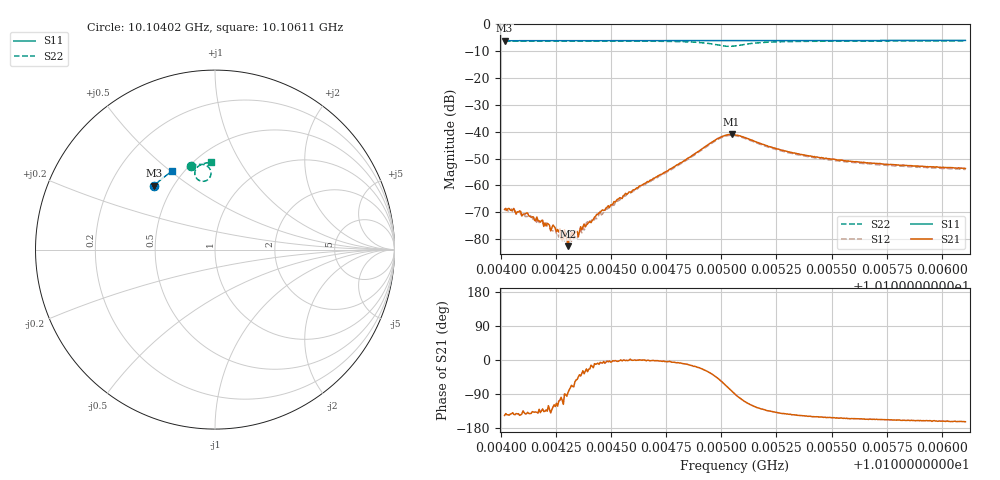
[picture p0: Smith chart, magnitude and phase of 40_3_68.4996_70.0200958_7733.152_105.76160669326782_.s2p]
#  HZ  S  RI  R  50.00
! Rohde & Schwarz Vector Network Analyzer
! Rohde-Schwarz,ZNB20-2Port,1311601062101988,3.16
! Created: UTC 3/20/2024, 4:50:18 PM
! freq[Hz]  re:S11  im:S11  re:S21  im:S21  re:S12  im:S12  re:S22  im:S22
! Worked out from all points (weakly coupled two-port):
!   401 points, 10.10402 GHz to 10.10611 GHz, reference 50 ohm
!   highest |S21| = -41.06 dB at 10.10505 GHz (marker M1); lowest = -82.6 dB at 10.1043 GHz (marker M2)
!   lowest |S11| = -6.2 dB at 10.10402 GHz (marker M3), VSWR 2.93, Z = 19.8 + j18.6 ohm
!   |S11| at or under -10 dB: nowhere
!   |S22| runs from -8.3 to -6.2 dB; largest |S21 - S12| = 0.00088
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1.0104016e10  -0.3378 0.3567  -0.000298 -0.000199  -0.000278 -0.000244  -0.1337 0.465
1.0104047e10  -0.3363 0.3582  -0.000269 -0.000211  -0.000268 -0.000249  -0.1312 0.4657
1.010412e10  -0.3333 0.3615  -0.000226 -0.000203  -0.000184 -0.000191  -0.1261 0.4672
1.0104178e10  -0.3308 0.364  -0.000155 -0.000136  -0.000133 -0.000182  -0.1217 0.4684
1.0104246e10  -0.3279 0.3669  -8.69e-05 -0.000135  -5.66e-05 -0.000146  -0.1168 0.4698
1.0104272e10  -0.3266 0.368  -1.48e-05 -0.000101  -1.55e-05 -0.000126  -0.1147 0.4702
1.0104298e10  -0.3256 0.369  -1.02e-05 -0.000101  2.97e-05 -0.000106  -0.1127 0.4707
1.0104303e10  -0.3254 0.3693  5.05e-06 -7.4e-05  1.21e-05 -0.000135  -0.1122 0.4709
1.0104335e10  -0.3238 0.3706  7.47e-05 -0.000121  8.5e-05 -6.38e-05  -0.1096 0.4713
1.010434e10  -0.3236 0.3709  8.12e-05 -0.000107  6.41e-05 -7.19e-05  -0.1093 0.4714
1.0104366e10  -0.3225 0.3719  0.000122 -8.73e-05  0.000101 -8.37e-05  -0.1072 0.4719
1.0104398e10  -0.3211 0.3732  0.000186 -8.41e-05  0.000196 -2.03e-05  -0.1044 0.4725
1.0104445e10  -0.319 0.3753  0.000304 -6.21e-05  0.000288 -2.11e-05  -0.1004 0.4732
1.0104554e10  -0.3141 0.3796  0.000648 -3.35e-07  0.000616 5.5e-05  -0.0897 0.4747
1.0104717e10  -0.3067 0.3863  0.00154 -6.77e-05  0.00149 6.71e-05  -0.0696 0.4746
1.0104983e10  -0.2937 0.3961  0.00499 -0.00554  0.00524 -0.00485  -0.0256 0.4086
1.0105046e10  -0.2912 0.3983  0.0013 -0.00876  0.00198 -0.00829  -0.0704 0.3803
1.0105062e10  -0.2906 0.3988  1.92e-06 -0.00874  0.00078 -0.00841  -0.0841 0.3835
1.0105255e10  -0.2815 0.4065  -0.00359 -0.00312  -0.00316 -0.00328  -0.1004 0.4573
1.0105412e10  -0.2739 0.4123  -0.003 -0.00176  -0.00267 -0.00198  -0.0806 0.4725
1.0105762e10  -0.2563 0.4243  -0.00226 -0.00091  -0.00209 -0.00109  -0.0487 0.483
1.0106108e10  -0.2386 0.4355  -0.00197 -0.000607  -0.00184 -0.000768  -0.0227 0.487
